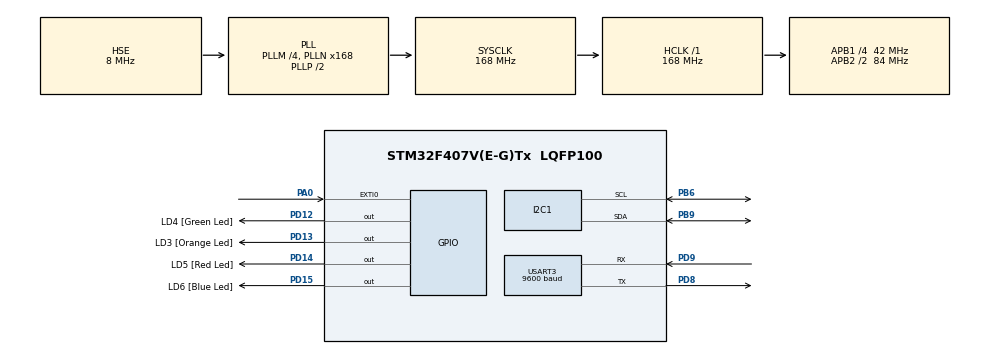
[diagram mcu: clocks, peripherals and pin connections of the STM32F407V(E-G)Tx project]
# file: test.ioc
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I2C1.I2C_Mode=I2C_Fast
Mcu.Family=STM32F4
Mcu.Name=STM32F407V(E-G)Tx
Mcu.Package=LQFP100
NVIC.EXTI0_IRQn=true\:0\:0\:false\:false\:true\:true\:true
NVIC.I2C1_ER_IRQn=true\:0\:0\:false\:false\:true\:true\:true
NVIC.I2C1_EV_IRQn=true\:0\:0\:false\:false\:true\:true\:true
NVIC.PriorityGroup=NVIC_PRIORITYGROUP_0
NVIC.TIM7_IRQn=true\:0\:0\:false\:false\:true\:true\:true
NVIC.USART3_IRQn=true\:0\:0\:false\:false\:true\:true\:true
PA0-WKUP.Signal=GPXTI0
PB6.Mode=I2C
PB6.Signal=I2C1_SCL
PB9.Mode=I2C
PB9.Signal=I2C1_SDA
PD12.GPIO_Label=LD4 [Green Led]
PD12.GPIO_PuPd=GPIO_NOPULL
PD12.GPIO_Speed=GPIO_SPEED_FREQ_LOW
PD12.PinState=GPIO_PIN_RESET
PD12.Signal=GPIO_Output
PD13.GPIO_Label=LD3 [Orange Led]
PD13.GPIO_PuPd=GPIO_NOPULL
PD13.GPIO_Speed=GPIO_SPEED_FREQ_LOW
PD13.Signal=GPIO_Output
PD14.GPIO_Label=LD5 [Red Led]
PD14.GPIO_PuPd=GPIO_NOPULL
PD14.GPIO_Speed=GPIO_SPEED_FREQ_LOW
PD14.Signal=GPIO_Output
PD15.GPIO_Label=LD6 [Blue Led]
PD15.GPIO_PuPd=GPIO_NOPULL
PD15.GPIO_Speed=GPIO_SPEED_FREQ_LOW
PD15.Signal=GPIO_Output
PD8.Mode=Asynchronous
PD8.Signal=USART3_TX
PD9.Mode=Asynchronous
PD9.Signal=USART3_RX
PH0-OSC_IN.Mode=HSE-External-Oscillator
PH0-OSC_IN.Signal=RCC_OSC_IN
PH1-OSC_OUT.Mode=HSE-External-Oscillator
PH1-OSC_OUT.Signal=RCC_OSC_OUT
ProjectManager.HeapSize=0x200
ProjectManager.StackSize=0x400
ProjectManager.TargetToolchain=MDK-ARM V5.27
RCC.48MHZClocksFreq_Value=48000000
RCC.AHBFreq_Value=168000000
RCC.APB1CLKDivider=RCC_HCLK_DIV4
RCC.APB1Freq_Value=42000000
RCC.APB1TimFreq_Value=84000000
RCC.APB2CLKDivider=RCC_HCLK_DIV2
RCC.APB2Freq_Value=84000000
RCC.APB2TimFreq_Value=168000000
RCC.CortexFreq_Value=168000000
RCC.HCLKFreq_Value=168000000
RCC.HSE_VALUE=8000000
RCC.HSI_VALUE=16000000
RCC.LSE_VALUE=32768
RCC.PLLM=4
RCC.PLLN=168
RCC.PLLQ=7
RCC.PLLSourceVirtual=RCC_PLLSOURCE_HSE
RCC.SYSCLKFreq_VALUE=168000000
RCC.SYSCLKSource=RCC_SYSCLKSOURCE_PLLCLK
RCC.VCOOutputFreq_Value=336000000
USART3.BaudRate=9600
USART3.VirtualMode=VM_ASYNC
VP_TIM7_VS_ClockSourceINT.Mode=Enable_Timer
board=STM32F407G-DISC1

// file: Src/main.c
/* USER CODE BEGIN Header */
/**
  ******************************************************************************
  * @file           : main.c
  * @brief          : Main program body
  ******************************************************************************
  * @attention
  *
  * <h2><center>&copy; Copyright (c) 2020 STMicroelectronics.
  * All rights reserved.</center></h2>
  *
  * This software component is licensed by ST under BSD 3-Clause license,
  * the "License"; You may not use this file except in compliance with the
  * License. You may obtain a copy of the License at:
  *                        opensource.org/licenses/BSD-3-Clause
  *
  ******************************************************************************
  */
/* USER CODE END Header */

#include "main.h"

I2C_HandleTypeDef hi2c1;

TIM_HandleTypeDef htim7;

UART_HandleTypeDef huart3;

void SystemClock_Config(void);
static void MX_GPIO_Init(void);
static void MX_USART3_UART_Init(void);
static void MX_I2C1_Init(void);
static void MX_TIM7_Init(void);

/* USER CODE BEGIN 0 */
#include <stdio.h>
#include "test.h"
#include "rtwtypes.h"

/* Flags for taskOverrun */
static boolean_T OverrunFlags[2] = { false, };

/* Number of auto reload timer rotation computed */
static volatile uint32_t autoReloadTimerLoopVal_S = 1;

/* Remaining number of auto reload timer rotation to do */
volatile uint32_t remainAutoReloadTimerLoopVal_S = 1;

/* USER CODE END 0 */

int main(void)
{
  /* USER CODE BEGIN 1 */
  boolean_T eventFlags[2];

  /* USER CODE END 1 */

  /* MCU Configuration--------------------------------------------------------*/

  /* Reset of all peripherals, Initializes the Flash interface and the Systick. */
  HAL_Init();

  /* Configure the system clock */
  SystemClock_Config();

  /* Initialize all configured peripherals */
  MX_GPIO_Init();
  MX_USART3_UART_Init();
  MX_I2C1_Init();
  MX_TIM7_Init();
  /* USER CODE BEGIN 2 */
  /* Use Systick arm timer and interrupt to tick step() functions of the Simulink model. */
  /* Fundamental sample time is set to: '0.001000000' s */
  if (SysTick_Config((uint32_t)(SystemCoreClock/1000.0))) {
    autoReloadTimerLoopVal_S = 1;
    do {
      autoReloadTimerLoopVal_S++;
    } while ((uint32_t)(SystemCoreClock/1000.0)/autoReloadTimerLoopVal_S >
             SysTick_LOAD_RELOAD_Msk);

    SysTick_Config((uint32_t)(SystemCoreClock/1000.0)/autoReloadTimerLoopVal_S);
  }

  /* Set number of loop to do. */
  remainAutoReloadTimerLoopVal_S = autoReloadTimerLoopVal_S;

  {
    int i;
    for (i = 0; i < 2; i++) {
      OverrunFlags[i] = false;
    }
  }

  /* Initialize model */
  test_initialize();

  /* USER CODE END 2 */

  /* Infinite loop */
  /* USER CODE BEGIN WHILE */
  /* Infinite loop */
  /* Real time from systickHandler */
  while (1) {
    /*Process tasks every solver time*/
    if (remainAutoReloadTimerLoopVal_S == 0) {
      remainAutoReloadTimerLoopVal_S = autoReloadTimerLoopVal_S;

      /* Check base rate for overrun */
      if (OverrunFlags[0]) {
        rtmSetErrorStatus(test_M, "Overrun");
      }

      OverrunFlags[0] = true;

      /*
       * For a bare-board target (i.e., no operating system), the rates
       * that execute this base step are buffered locally to allow for
       * overlapping preemption.  The generated code includes function
       * writeCodeInfoFcn() which sets the rates
       * that need to run this time step.  The return values are 1 and 0
       * for true and false, respectively.
       */
      test_SetEventsForThisBaseStep(eventFlags);

      /* Step the model for base rate */
      test_step(0);

      /* Get model outputs here */

      /* Indicate task for base rate complete */
      OverrunFlags[0] = false;

      /* Step the model for any sub-rate */
      {
        int i;
        for (i = 1; i < 2; i++) {
          if (eventFlags[i]) {
            if (OverrunFlags[i]) {
              rtmSetErrorStatus(test_M, "Overrun");
            }

            OverrunFlags[i] = true;

            /* Step the model for sub-rate "i" */
            test_step(i);

            /* Get model outputs here */

            /* Indicate task complete for sample time "i" */
            OverrunFlags[i] = false;
          }
        }
      }
    }
  }

    /* USER CODE END WHILE */

}

void SystemClock_Config(void)
{
  RCC_OscInitTypeDef RCC_OscInitStruct = {0};
  RCC_ClkInitTypeDef RCC_ClkInitStruct = {0};

  /** Configure the main internal regulator output voltage
  */
  __HAL_RCC_PWR_CLK_ENABLE();
  __HAL_PWR_VOLTAGESCALING_CONFIG(PWR_REGULATOR_VOLTAGE_SCALE1);
  /** Initializes the CPU, AHB and APB busses clocks
  */
  RCC_OscInitStruct.OscillatorType = RCC_OSCILLATORTYPE_HSE;
  RCC_OscInitStruct.HSEState = RCC_HSE_ON;
  RCC_OscInitStruct.PLL.PLLState = RCC_PLL_ON;
  RCC_OscInitStruct.PLL.PLLSource = RCC_PLLSOURCE_HSE;
  RCC_OscInitStruct.PLL.PLLM = 4;
  RCC_OscInitStruct.PLL.PLLN = 168;
  RCC_OscInitStruct.PLL.PLLP = RCC_PLLP_DIV2;
  RCC_OscInitStruct.PLL.PLLQ = 7;
  if (HAL_RCC_OscConfig(&RCC_OscInitStruct) != HAL_OK)
  {
    Error_Handler();
  }
  /** Initializes the CPU, AHB and APB busses clocks
  */
  RCC_ClkInitStruct.ClockType = RCC_CLOCKTYPE_HCLK|RCC_CLOCKTYPE_SYSCLK
                              |RCC_CLOCKTYPE_PCLK1|RCC_CLOCKTYPE_PCLK2;
  RCC_ClkInitStruct.SYSCLKSource = RCC_SYSCLKSOURCE_PLLCLK;
  RCC_ClkInitStruct.AHBCLKDivider = RCC_SYSCLK_DIV1;
  RCC_ClkInitStruct.APB1CLKDivider = RCC_HCLK_DIV4;
  RCC_ClkInitStruct.APB2CLKDivider = RCC_HCLK_DIV2;

  if (HAL_RCC_ClockConfig(&RCC_ClkInitStruct, FLASH_LATENCY_5) != HAL_OK)
  {
    Error_Handler();
  }
}

static void MX_I2C1_Init(void)
{

  hi2c1.Instance = I2C1;
  hi2c1.Init.ClockSpeed = 400000;
  hi2c1.Init.DutyCycle = I2C_DUTYCYCLE_2;
  hi2c1.Init.OwnAddress1 = 0;
  hi2c1.Init.AddressingMode = I2C_ADDRESSINGMODE_7BIT;
  hi2c1.Init.DualAddressMode = I2C_DUALADDRESS_DISABLE;
  hi2c1.Init.OwnAddress2 = 0;
  hi2c1.Init.GeneralCallMode = I2C_GENERALCALL_DISABLE;
  hi2c1.Init.NoStretchMode = I2C_NOSTRETCH_DISABLE;
  if (HAL_I2C_Init(&hi2c1) != HAL_OK)
  {
    Error_Handler();
  }

}

static void MX_TIM7_Init(void)
{

  TIM_MasterConfigTypeDef sMasterConfig = {0};

  htim7.Instance = TIM7;
  htim7.Init.Prescaler = 0;
  htim7.Init.CounterMode = TIM_COUNTERMODE_UP;
  htim7.Init.Period = 0;
  htim7.Init.AutoReloadPreload = TIM_AUTORELOAD_PRELOAD_DISABLE;
  if (HAL_TIM_Base_Init(&htim7) != HAL_OK)
  {
    Error_Handler();
  }
  sMasterConfig.MasterOutputTrigger = TIM_TRGO_RESET;
  sMasterConfig.MasterSlaveMode = TIM_MASTERSLAVEMODE_DISABLE;
  if (HAL_TIMEx_MasterConfigSynchronization(&htim7, &sMasterConfig) != HAL_OK)
  {
    Error_Handler();
  }

}

static void MX_USART3_UART_Init(void)
{

  huart3.Instance = USART3;
  huart3.Init.BaudRate = 9600;
  huart3.Init.WordLength = UART_WORDLENGTH_8B;
  huart3.Init.StopBits = UART_STOPBITS_1;
  huart3.Init.Parity = UART_PARITY_NONE;
  huart3.Init.Mode = UART_MODE_TX_RX;
  huart3.Init.HwFlowCtl = UART_HWCONTROL_NONE;
  huart3.Init.OverSampling = UART_OVERSAMPLING_16;
  if (HAL_UART_Init(&huart3) != HAL_OK)
  {
    Error_Handler();
  }

}

static void MX_GPIO_Init(void)
{
  GPIO_InitTypeDef GPIO_InitStruct = {0};

  /* GPIO Ports Clock Enable */
  __HAL_RCC_GPIOH_CLK_ENABLE();
  __HAL_RCC_GPIOA_CLK_ENABLE();
  __HAL_RCC_GPIOD_CLK_ENABLE();
  __HAL_RCC_GPIOB_CLK_ENABLE();

  /*Configure GPIO pin Output Level */
  HAL_GPIO_WritePin(GPIOD, LD4_Pin|LD3_Pin|LD5_Pin|LD6_Pin, GPIO_PIN_RESET);

  /*Configure GPIO pin : PA0 */
  GPIO_InitStruct.Pin = GPIO_PIN_0;
  GPIO_InitStruct.Mode = GPIO_MODE_IT_RISING;
  GPIO_InitStruct.Pull = GPIO_NOPULL;
  HAL_GPIO_Init(GPIOA, &GPIO_InitStruct);

  /*Configure GPIO pins : LD4_Pin LD3_Pin LD5_Pin LD6_Pin */
  GPIO_InitStruct.Pin = LD4_Pin|LD3_Pin|LD5_Pin|LD6_Pin;
  GPIO_InitStruct.Mode = GPIO_MODE_OUTPUT_PP;
  GPIO_InitStruct.Pull = GPIO_NOPULL;
  GPIO_InitStruct.Speed = GPIO_SPEED_FREQ_LOW;
  HAL_GPIO_Init(GPIOD, &GPIO_InitStruct);

  /* EXTI interrupt init*/
  HAL_NVIC_SetPriority(EXTI0_IRQn, 0, 0);
  HAL_NVIC_EnableIRQ(EXTI0_IRQn);

}

void Error_Handler(void)
{
}

/************************ (C) COPYRIGHT STMicroelectronics *****END OF FILE****/
